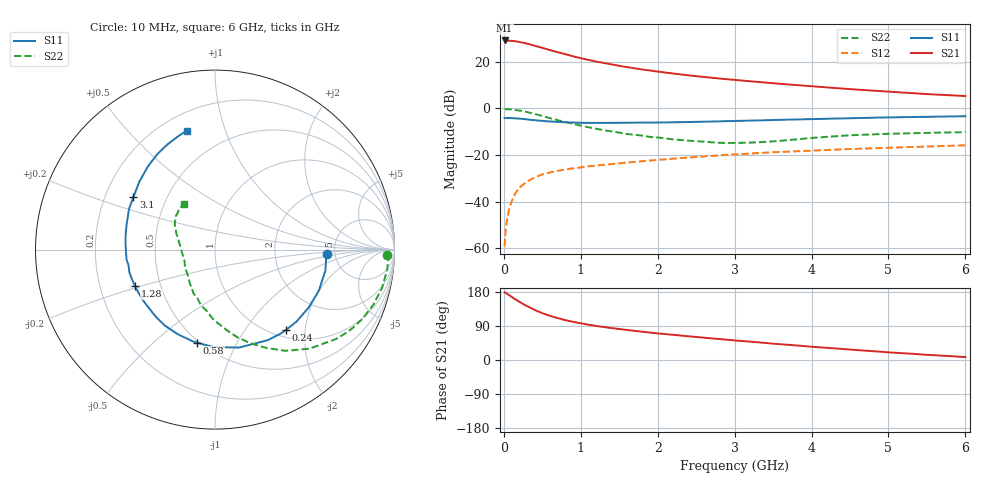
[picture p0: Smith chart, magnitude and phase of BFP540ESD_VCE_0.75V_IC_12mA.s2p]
! Infineon Technologies  Discrete & RF Semiconductors
! BFP540ESD
! VCE = 0.75 V,  IC =  12 mA
! Common Emitter S-Parameters:  Nov 2015
# GHz  S  MA  R  50
!  f  S11  S21  S12  S22
! GHz  MAG  ANG  MAG  ANG  MAG  ANG  MAG  ANG
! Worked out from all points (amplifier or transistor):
!   210 points, 10 MHz to 6 GHz, reference 50 ohm
!   highest |S21| = 29.2 dB at 10 MHz (marker M1)
!   |S21| within 3 dB of that: start of sweep to 482.2 MHz
!   unconditionally stable (mu >= 1): 2.518 GHz to end of sweep
!   at 185 MHz: K = 0.14, MSG = 31.7 dB, |S12| = -34.8 dB
!   at 1.52 GHz: K = 0.79, MSG = 20.9 dB, |S12| = -23.5 dB
!   at 6 GHz: K = 1.15, MAG = 8.3 dB, |S12| = -15.8 dB
!   S11 on the Smith chart (normalised r, x): 10 MHz: 4.28, -0.30; 240 MHz: 1.13, -1.58; 580 MHz: 0.49, -0.70; 1.28 GHz: 0.36, -0.19; 3.1 GHz: 0.32, +0.27; 6 GHz: 0.30, +0.75
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0.01  0.6232 -2.0  28.91 178.6  0.0011 94.3  0.9564 -1.7
0.02  0.6213 -4.7  28.57 177.7  0.0021 81.3  0.9673 -2.3
0.04  0.6237 -8.7  28.67 174.8  0.0039 85.2  0.9661 -5.0
0.1  0.6224 -21.4  28.45 166.6  0.0099 81.1  0.955 -12.9
0.17  0.6086 -35.4  27.44 157.5  0.0169 76.0  0.9222 -21.6
0.2  0.606 -41.4  26.94 153.7  0.0197 74.8  0.9069 -25.3
0.24  0.5974 -48.8  26.07 149.0  0.0223 70.4  0.8813 -29.9
0.3  0.5839 -59.8  24.77 142.2  0.0269 66.4  0.8379 -36.5
0.4  0.5621 -76.1  22.34 132.1  0.0328 61.4  0.763 -46.3
0.5  0.5432 -90.9  20.1 123.5  0.0382 56.4  0.6877 -55.1
0.58  0.5275 -100.9  18.33 118.0  0.0415 54.1  0.6323 -60.7
0.7  0.515 -113.7  16.17 110.5  0.0457 51.5  0.5607 -68.9
0.8  0.5071 -123.6  14.53 105.1  0.0491 48.3  0.5084 -75.2
1.02  0.4909 -140.3  11.82 96.0  0.055 46.5  0.4195 -86.3
1.28  0.4895 -155.3  9.607 87.6  0.0612 44.6  0.3459 -97.6
1.6  0.4895 -169.7  7.731 79.1  0.0687 42.9  0.2829 -110.8
2.02  0.5001 175.4  6.129 69.9  0.0788 41.0  0.2361 -126.4
2.6  0.5193 159.0  4.738 58.8  0.0933 38.1  0.1938 -149.8
3.1  0.5409 147.1  3.965 50.1  0.1051 34.9  0.1824 -170.4
4.1  0.5992 127.4  2.913 33.6  0.1262 26.8  0.2389 155.3
5.1  0.6467 113.0  2.243 19.0  0.1446 19.0  0.2882 138.2
6  0.6812 103.3  1.849 7.7  0.1616 12.6  0.3099 124.3
